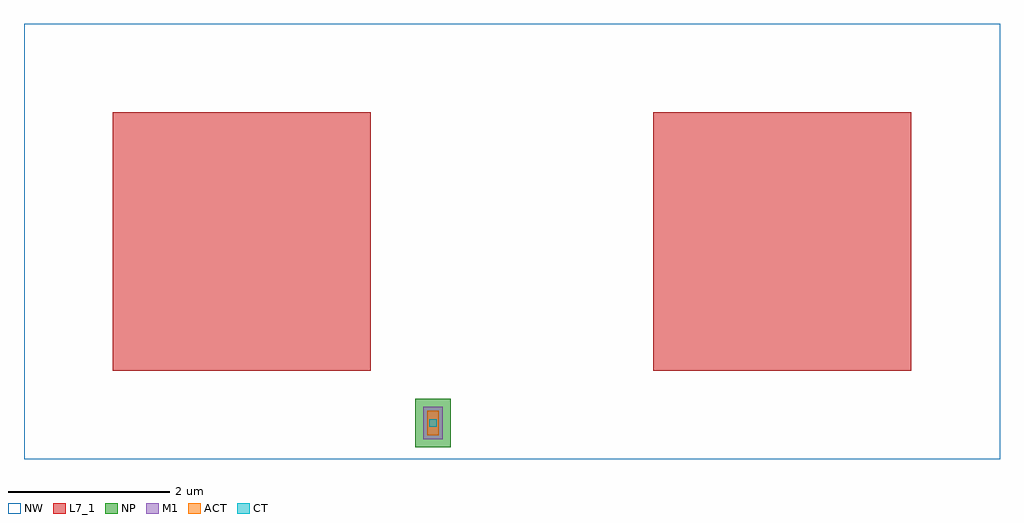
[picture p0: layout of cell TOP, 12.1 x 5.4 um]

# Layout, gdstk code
import gdstk
lib = gdstk.Library(unit=1e-6, precision=1e-09)
def R(c, l, rs):  # rectangles x0, y0, x1, y1
    for r in rs: c.add(gdstk.rectangle(r[:2], r[2:], *l))
ACT = (2, 1)
L7_1 = (7, 1)
NW = (9, 1)
NP = (52, 1)
CT = (72, 1)
M1 = (81, 1)

top = lib.new_cell('TOP')
R(top, ACT, [(5,0.3,5.14,0.6)])
R(top, L7_1, [(1.1,1.1,4.3,4.3), (7.8,1.1,11,4.3)])
R(top, NW, [(0,0,12.1,5.4)])
R(top, NP, [(4.85,0.15,5.29,0.75)])
R(top, CT, [(5.025,0.405,5.115,0.495)])
R(top, M1, [(4.95,0.25,5.19,0.65)])

lib.write_gds('TOP.gds')
